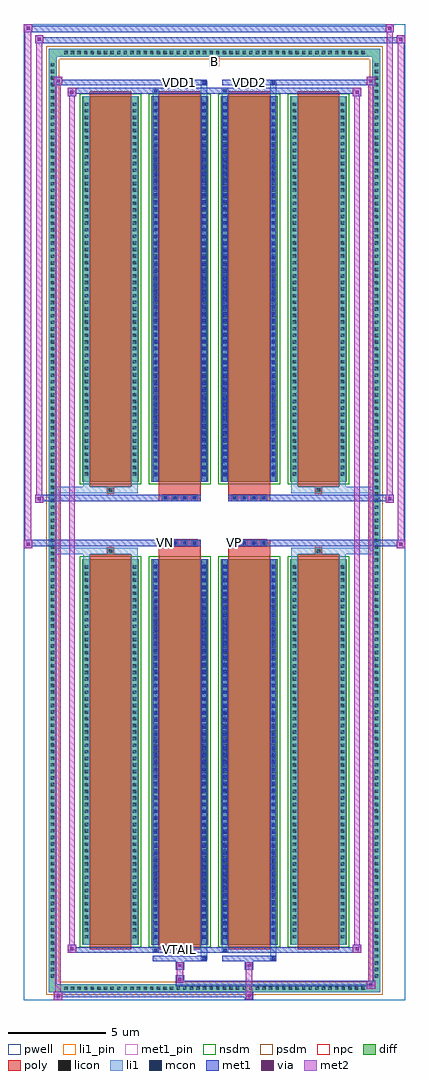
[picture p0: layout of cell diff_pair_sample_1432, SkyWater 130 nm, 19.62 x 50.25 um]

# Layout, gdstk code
import gdstk
lib = gdstk.Library(unit=1e-6, precision=5e-09)
def R(c, l, rs):  # rectangles x0, y0, x1, y1
    for r in rs: c.add(gdstk.rectangle(r[:2], r[2:], *l))
def A(c, l, x, y, w, h, nx, ny, dx, dy):  # array of equal rectangles
    R(c, l, [(x+i*dx, y+j*dy, x+i*dx+w, y+j*dy+h) for i in range(nx) for j in range(ny)])
def P(c, l, *ps):  # polygons
    for p in ps: c.add(gdstk.Polygon(p, *l))
pwell = (64, 44)
diff = (65, 20)
poly = (66, 20)
licon = (66, 44)
li1_pin = (67, 16)
li1 = (67, 20)
mcon = (67, 44)
met1_pin = (68, 16)
met1 = (68, 20)
via = (68, 44)
met2 = (69, 20)
nsdm = (93, 44)
psdm = (94, 20)
npc = (95, 20)

diff_pair_sample_1432 = lib.new_cell('diff_pair_sample_1432')
R(diff_pair_sample_1432, pwell, [(-9.81,-24.69,9.81,25.56), (-7.13,-22.88,-0.01,-0.8), (0.01,-22.88,7.13,-0.8), (-7.13,0.8,-0.01,22.88), (0.01,0.8,7.13,22.88)])
A(diff_pair_sample_1432, diff, -7.855, -24.29, 0.41, 0.41, 46, 2, 0.34, 48.17)
A(diff_pair_sample_1432, diff, -8.54, -23.665, 0.41, 0.41, 1, 139, 0, 0.34)
A(diff_pair_sample_1432, diff, 8.13, -23.665, 0.41, 0.41, 1, 139, 0, 0.34)
A(diff_pair_sample_1432, diff, -6.82, -21.835, 2.93, 19.85, 4, 2, 3.57, 23.82)
R(diff_pair_sample_1432, diff, [(-7.855,-24.29,7.855,-23.88), (-8.54,-23.665,-8.13,23.665), (8.13,-23.665,8.54,23.665), (-7.855,23.88,7.855,24.29)])
P(diff_pair_sample_1432, diff, [(8.54,24.29),(-8.54,24.29),(-8.54,-23.88),(-8.13,-23.88),(-8.13,23.88),(8.13,23.88),(8.13,-23.88),(-8.13,-23.88),(-8.54,-23.88),(-8.54,-24.29),(8.54,-24.29)])
A(diff_pair_sample_1432, poly, -6.43, -22.085, 2.15, 20.35, 4, 2, 3.57, 23.82)
A(diff_pair_sample_1432, poly, -2.7, -1.33, 0.33, 0.33, 4, 2, 0.5, 2.33)
A(diff_pair_sample_1432, poly, 0.87, -1.33, 0.33, 0.33, 4, 2, 0.5, 2.33)
R(diff_pair_sample_1432, poly, [(-5.52,-1.735,-5.19,-1.405), (-5.52,-1.735,-5.19,-1.405), (-2.86,-1.735,-0.71,-1.33), (0.71,-1.735,2.86,-1.33), (5.19,-1.735,5.52,-1.405), (5.19,-1.735,5.52,-1.405), (-2.86,-1.33,-0.71,-1), (0.71,-1.33,2.86,-1), (-2.86,1,-0.71,1.33), (0.71,1,2.86,1.33), (-2.86,1.33,-0.71,1.735), (0.71,1.33,2.86,1.735), (-5.52,1.405,-5.19,1.735), (-5.52,1.405,-5.19,1.735), (5.19,1.405,5.52,1.735), (5.19,1.405,5.52,1.735)])
A(diff_pair_sample_1432, licon, -7.735, -24.17, 0.17, 0.17, 46, 2, 0.34, 48.17)
A(diff_pair_sample_1432, licon, -8.42, -23.545, 0.17, 0.17, 1, 139, 0, 0.34)
A(diff_pair_sample_1432, licon, 8.25, -23.545, 0.17, 0.17, 1, 139, 0, 0.34)
A(diff_pair_sample_1432, licon, -6.68, -21.515, 0.17, 0.17, 1, 57, 0, 0.34)
A(diff_pair_sample_1432, licon, -4.2, -21.515, 0.17, 0.17, 1, 57, 0, 0.34)
A(diff_pair_sample_1432, licon, -3.11, -21.515, 0.17, 0.17, 1, 57, 0, 0.34)
A(diff_pair_sample_1432, licon, -0.63, -21.515, 0.17, 0.17, 1, 57, 0, 0.34)
A(diff_pair_sample_1432, licon, 0.46, -21.515, 0.17, 0.17, 1, 57, 0, 0.34)
A(diff_pair_sample_1432, licon, 2.94, -21.515, 0.17, 0.17, 1, 57, 0, 0.34)
A(diff_pair_sample_1432, licon, 4.03, -21.515, 0.17, 0.17, 1, 57, 0, 0.34)
A(diff_pair_sample_1432, licon, 6.51, -21.515, 0.17, 0.17, 1, 57, 0, 0.34)
A(diff_pair_sample_1432, licon, -2.62, -1.25, 0.17, 0.17, 4, 2, 0.5, 2.33)
A(diff_pair_sample_1432, licon, 0.95, -1.25, 0.17, 0.17, 4, 2, 0.5, 2.33)
A(diff_pair_sample_1432, licon, -6.68, 2.305, 0.17, 0.17, 1, 57, 0, 0.34)
A(diff_pair_sample_1432, licon, -4.2, 2.305, 0.17, 0.17, 1, 57, 0, 0.34)
A(diff_pair_sample_1432, licon, -3.11, 2.305, 0.17, 0.17, 1, 57, 0, 0.34)
A(diff_pair_sample_1432, licon, -0.63, 2.305, 0.17, 0.17, 1, 57, 0, 0.34)
A(diff_pair_sample_1432, licon, 0.46, 2.305, 0.17, 0.17, 1, 57, 0, 0.34)
A(diff_pair_sample_1432, licon, 2.94, 2.305, 0.17, 0.17, 1, 57, 0, 0.34)
A(diff_pair_sample_1432, licon, 4.03, 2.305, 0.17, 0.17, 1, 57, 0, 0.34)
A(diff_pair_sample_1432, licon, 6.51, 2.305, 0.17, 0.17, 1, 57, 0, 0.34)
R(diff_pair_sample_1432, licon, [(-5.44,-1.655,-5.27,-1.485), (5.27,-1.655,5.44,-1.485), (-5.44,1.485,-5.27,1.655), (5.27,1.485,5.44,1.655)])
R(diff_pair_sample_1432, li1_pin, [(-0.25,23.38,0.25,23.88)])
A(diff_pair_sample_1432, li1, -7.815, -24.25, 0.33, 0.33, 46, 2, 0.34, 48.17)
A(diff_pair_sample_1432, li1, -8.5, -23.625, 0.33, 0.33, 1, 139, 0, 0.34)
A(diff_pair_sample_1432, li1, 8.17, -23.625, 0.33, 0.33, 1, 139, 0, 0.34)
A(diff_pair_sample_1432, li1, -6.76, -21.595, 0.33, 0.33, 1, 57, 0, 0.34)
A(diff_pair_sample_1432, li1, -4.28, -21.595, 0.33, 0.33, 1, 57, 0, 0.34)
A(diff_pair_sample_1432, li1, -3.19, -21.595, 0.33, 0.33, 1, 57, 0, 0.34)
A(diff_pair_sample_1432, li1, -0.71, -21.595, 0.33, 0.33, 1, 57, 0, 0.34)
A(diff_pair_sample_1432, li1, 0.38, -21.595, 0.33, 0.33, 1, 57, 0, 0.34)
A(diff_pair_sample_1432, li1, 2.86, -21.595, 0.33, 0.33, 1, 57, 0, 0.34)
A(diff_pair_sample_1432, li1, 3.95, -21.595, 0.33, 0.33, 1, 57, 0, 0.34)
A(diff_pair_sample_1432, li1, 6.43, -21.595, 0.33, 0.33, 1, 57, 0, 0.34)
A(diff_pair_sample_1432, li1, -3.11, -21.535, 0.17, 0.17, 1, 54, 0, 0.36)
A(diff_pair_sample_1432, li1, -0.63, -21.535, 0.17, 0.17, 1, 54, 0, 0.36)
A(diff_pair_sample_1432, li1, 0.46, -21.535, 0.17, 0.17, 1, 54, 0, 0.36)
A(diff_pair_sample_1432, li1, 2.94, -21.535, 0.17, 0.17, 1, 54, 0, 0.36)
A(diff_pair_sample_1432, li1, -2.7, -1.33, 0.33, 0.33, 4, 2, 0.5, 2.33)
A(diff_pair_sample_1432, li1, 0.87, -1.33, 0.33, 0.33, 4, 2, 0.5, 2.33)
A(diff_pair_sample_1432, li1, -6.76, 2.225, 0.33, 0.33, 1, 57, 0, 0.34)
A(diff_pair_sample_1432, li1, -4.28, 2.225, 0.33, 0.33, 1, 57, 0, 0.34)
A(diff_pair_sample_1432, li1, -3.19, 2.225, 0.33, 0.33, 1, 57, 0, 0.34)
A(diff_pair_sample_1432, li1, -0.71, 2.225, 0.33, 0.33, 1, 57, 0, 0.34)
A(diff_pair_sample_1432, li1, 0.38, 2.225, 0.33, 0.33, 1, 57, 0, 0.34)
A(diff_pair_sample_1432, li1, 2.86, 2.225, 0.33, 0.33, 1, 57, 0, 0.34)
A(diff_pair_sample_1432, li1, 3.95, 2.225, 0.33, 0.33, 1, 57, 0, 0.34)
A(diff_pair_sample_1432, li1, 6.43, 2.225, 0.33, 0.33, 1, 57, 0, 0.34)
A(diff_pair_sample_1432, li1, -3.11, 2.285, 0.17, 0.17, 1, 54, 0, 0.36)
A(diff_pair_sample_1432, li1, -0.63, 2.285, 0.17, 0.17, 1, 54, 0, 0.36)
A(diff_pair_sample_1432, li1, 0.46, 2.285, 0.17, 0.17, 1, 54, 0, 0.36)
A(diff_pair_sample_1432, li1, 2.94, 2.285, 0.17, 0.17, 1, 54, 0, 0.36)
R(diff_pair_sample_1432, li1, [(-8.54,-24.29,-8.13,-23.88), (-8.54,-24.29,-8.13,-23.88), (-8.13,-24.29,8.13,-23.88), (8.13,-24.29,8.54,-23.88), (8.13,-24.29,8.54,-23.88), (-8.54,-23.88,-8.13,23.88), (8.13,-23.88,8.54,23.88), (-0.71,-22.64,-0.38,-21.835), (-0.63,-22.64,-0.46,-22.47), (2.86,-22.64,3.19,-21.835), (2.94,-22.64,3.11,-22.47), (-3.19,-22.21,-2.86,-21.835), (-3.11,-22.21,-2.94,-22.04), (0.38,-22.21,0.71,-21.835), (0.46,-22.21,0.63,-22.04), (-6.76,-21.835,-6.43,-1.985), (-4.28,-21.835,-3.95,-1.985), (-3.19,-21.835,-2.86,-1.985), (-0.71,-21.835,-0.38,-1.985), (0.38,-21.835,0.71,-1.985), (2.86,-21.835,3.19,-1.985), (3.95,-21.835,4.28,-1.985), (6.43,-21.835,6.76,-1.985), (-3.11,-21.535,-2.94,-2.285), (-0.63,-21.535,-0.46,-2.285), (0.46,-21.535,0.63,-2.285), (2.94,-21.535,3.11,-2.285), (-6.76,-1.985,-6.43,-1.405), (-4.28,-1.985,-3.95,-1.405), (3.95,-1.985,4.28,-1.405), (6.43,-1.985,6.76,-1.405), (-8.54,-1.735,-5.52,-1.405), (-6.76,-1.735,-5.52,-1.405), (-5.52,-1.735,-5.19,-1.405), (-5.19,-1.735,-3.95,-1.405), (3.95,-1.735,5.19,-1.405), (5.19,-1.735,5.52,-1.405), (5.19,-1.735,8.54,-1.405), (5.52,-1.735,6.76,-1.405), (-8.54,1.405,-5.52,1.735), (-6.76,1.405,-5.52,1.735), (-6.76,1.405,-6.43,1.985), (-5.52,1.405,-5.19,1.735), (-5.19,1.405,-3.95,1.735), (-4.28,1.405,-3.95,1.985), (3.95,1.405,5.19,1.735), (3.95,1.405,4.28,1.985), (5.19,1.405,5.52,1.735), (5.19,1.405,8.54,1.735), (5.52,1.405,6.76,1.735), (6.43,1.405,6.76,1.985), (-6.76,1.985,-6.43,21.835), (-4.28,1.985,-3.95,21.835), (-3.19,1.985,-2.86,21.835), (-0.71,1.985,-0.38,21.835), (0.38,1.985,0.71,21.835), (2.86,1.985,3.19,21.835), (3.95,1.985,4.28,21.835), (6.43,1.985,6.76,21.835), (-3.11,2.285,-2.94,21.535), (-0.63,2.285,-0.46,21.535), (0.46,2.285,0.63,21.535), (2.94,2.285,3.11,21.535), (-3.19,21.835,-2.86,22.21), (-0.71,21.835,-0.38,22.64), (0.38,21.835,0.71,22.21), (2.86,21.835,3.19,22.64), (-3.11,22.04,-2.94,22.21), (0.46,22.04,0.63,22.21), (-0.63,22.47,-0.46,22.64), (2.94,22.47,3.11,22.64), (-8.54,23.88,-8.13,24.29), (-8.54,23.88,-8.13,24.29), (-8.13,23.88,8.13,24.29), (8.13,23.88,8.54,24.29), (8.13,23.88,8.54,24.29)])
A(diff_pair_sample_1432, mcon, -3.11, -21.535, 0.17, 0.17, 1, 54, 0, 0.36)
A(diff_pair_sample_1432, mcon, -0.63, -21.535, 0.17, 0.17, 1, 54, 0, 0.36)
A(diff_pair_sample_1432, mcon, 0.46, -21.535, 0.17, 0.17, 1, 54, 0, 0.36)
A(diff_pair_sample_1432, mcon, 2.94, -21.535, 0.17, 0.17, 1, 54, 0, 0.36)
A(diff_pair_sample_1432, mcon, -2.62, -1.25, 0.17, 0.17, 4, 2, 0.5, 2.33)
A(diff_pair_sample_1432, mcon, 0.95, -1.25, 0.17, 0.17, 4, 2, 0.5, 2.33)
A(diff_pair_sample_1432, mcon, -3.11, 2.285, 0.17, 0.17, 1, 54, 0, 0.36)
A(diff_pair_sample_1432, mcon, -0.63, 2.285, 0.17, 0.17, 1, 54, 0, 0.36)
A(diff_pair_sample_1432, mcon, 0.46, 2.285, 0.17, 0.17, 1, 54, 0, 0.36)
A(diff_pair_sample_1432, mcon, 2.94, 2.285, 0.17, 0.17, 1, 54, 0, 0.36)
R(diff_pair_sample_1432, mcon, [(-0.63,-22.64,-0.46,-22.47), (2.94,-22.64,3.11,-22.47), (-3.11,-22.21,-2.94,-22.04), (0.46,-22.21,0.63,-22.04), (-3.11,22.04,-2.94,22.21), (0.46,22.04,0.63,22.21), (-0.63,22.47,-0.46,22.64), (2.94,22.47,3.11,22.64)])
R(diff_pair_sample_1432, met1_pin, [(-1.92,-22.25,-1.65,-21.98), (-2.67,-1.29,-2.4,-1.02), (0.9,-1.29,1.17,-1.02), (-1.92,22.43,-1.65,22.7), (1.65,22.43,1.92,22.7)])
A(diff_pair_sample_1432, met1, -3.17, -21.595, 0.29, 0.29, 1, 54, 0, 0.36)
A(diff_pair_sample_1432, met1, -0.69, -21.595, 0.29, 0.29, 1, 54, 0, 0.36)
A(diff_pair_sample_1432, met1, 0.4, -21.595, 0.29, 0.29, 1, 54, 0, 0.36)
A(diff_pair_sample_1432, met1, 2.88, -21.595, 0.29, 0.29, 1, 54, 0, 0.36)
A(diff_pair_sample_1432, met1, -2.68, -1.31, 0.29, 0.29, 4, 2, 0.5, 2.33)
A(diff_pair_sample_1432, met1, 0.89, -1.31, 0.29, 0.29, 4, 2, 0.5, 2.33)
A(diff_pair_sample_1432, met1, -3.17, 2.225, 0.29, 0.29, 1, 54, 0, 0.36)
A(diff_pair_sample_1432, met1, -0.69, 2.225, 0.29, 0.29, 1, 54, 0, 0.36)
A(diff_pair_sample_1432, met1, 0.4, 2.225, 0.29, 0.29, 1, 54, 0, 0.36)
A(diff_pair_sample_1432, met1, 2.88, 2.225, 0.29, 0.29, 1, 54, 0, 0.36)
R(diff_pair_sample_1432, met1, [(-8.27,-24.69,-7.84,-24.26), (1.57,-24.69,2,-24.26), (-8.27,-24.55,2,-24.26), (7.84,-24.12,8.27,-23.69), (-2,-23.98,8.27,-23.69), (-2,-23.84,-1.57,-23.41), (-2,-23.13,-1.57,-22.7), (1.57,-23.13,2,-22.7), (-3.17,-22.7,-0.4,-22.41), (-0.69,-22.7,-0.4,-22.41), (0.4,-22.7,3.17,-22.41), (2.88,-22.7,3.17,-22.41), (-7.56,-22.27,-7.13,-21.84), (-7.56,-22.27,-3.17,-21.98), (-3.17,-22.27,-2.88,-21.98), (-3.17,-22.27,-0.4,-21.98), (-0.4,-22.27,0.4,-21.98), (0.4,-22.27,0.69,-21.98), (0.4,-22.27,3.17,-21.98), (3.17,-22.27,7.56,-21.98), (7.13,-22.27,7.56,-21.84), (-3.17,-21.835,-2.88,-1.985), (-0.69,-21.835,-0.4,-1.985), (0.4,-21.835,0.69,-1.985), (2.88,-21.835,3.17,-1.985), (-9.81,-1.43,-9.38,-1), (9.38,-1.43,9.81,-1), (-9.81,-1.33,-0.71,-1), (-2.86,-1.33,-0.71,-1), (0.71,-1.33,2.86,-1), (0.71,-1.33,9.81,-1), (-9.24,0.9,-8.81,1.33), (8.81,0.9,9.24,1.33), (-9.24,1,-2.86,1.33), (-2.86,1,-0.71,1.33), (0.71,1,2.86,1.33), (2.86,1,9.24,1.33), (-3.17,1.985,-2.88,21.835), (-0.69,1.985,-0.4,21.835), (0.4,1.985,0.69,21.835), (2.88,1.985,3.17,21.835), (-7.56,21.84,-7.13,22.27), (7.13,21.84,7.56,22.27), (-7.56,21.98,-3.17,22.27), (-3.17,21.98,-2.88,22.27), (-3.17,21.98,-0.4,22.27), (-0.4,21.98,0.4,22.27), (0.4,21.98,0.69,22.27), (0.4,21.98,3.17,22.27), (3.17,21.98,7.56,22.27), (-8.27,22.41,-7.84,22.84), (-8.27,22.41,-3.17,22.7), (-3.17,22.41,-0.4,22.7), (-0.69,22.41,-0.4,22.7), (0.4,22.41,3.17,22.7), (2.88,22.41,3.17,22.7), (3.17,22.41,8.27,22.7), (7.84,22.41,8.27,22.84), (-9.24,24.56,-8.81,24.99), (-9.24,24.56,-7.13,24.89), (-7.13,24.56,7.13,24.89), (7.13,24.56,9.81,24.89), (9.38,24.56,9.81,24.99), (-9.81,25.13,-9.38,25.56), (-9.81,25.13,-7.13,25.46), (-7.13,25.13,7.13,25.46), (7.13,25.13,9.24,25.46), (8.81,25.13,9.24,25.56)])
R(diff_pair_sample_1432, via, [(-8.13,-24.55,-7.98,-24.4), (1.71,-24.55,1.86,-24.4), (7.98,-23.98,8.13,-23.83), (-1.86,-23.7,-1.71,-23.55), (-1.86,-22.99,-1.71,-22.84), (1.71,-22.99,1.86,-22.84), (-7.42,-22.13,-7.27,-21.98), (7.27,-22.13,7.42,-21.98), (-9.67,-1.29,-9.52,-1.14), (9.52,-1.29,9.67,-1.14), (-9.1,1.04,-8.95,1.19), (8.95,1.04,9.1,1.19), (-7.42,21.98,-7.27,22.13), (7.27,21.98,7.42,22.13), (-8.13,22.55,-7.98,22.7), (7.98,22.55,8.13,22.7), (-9.1,24.7,-8.95,24.85), (9.52,24.7,9.67,24.85), (-9.67,25.27,-9.52,25.42), (8.95,25.27,9.1,25.42)])
R(diff_pair_sample_1432, met2, [(-8.27,-24.69,-7.84,-24.26), (-8.2,-24.69,-7.91,22.84), (-7.91,-24.69,-7.84,-24.26), (-8.22,-24.64,-7.89,-24.31), (1.62,-24.64,1.95,-24.31), (1.62,-24.31,1.95,-23.08), (7.84,-24.12,8.27,-23.69), (7.91,-24.12,8.2,22.84), (8.2,-24.12,8.27,-23.69), (7.89,-24.07,8.22,-23.74), (-1.95,-23.79,-1.62,-23.46), (-1.95,-23.46,-1.62,-23.08), (-1.95,-23.08,-1.62,-22.75), (1.62,-23.08,1.95,-22.75), (-7.56,-22.27,-7.13,-21.84), (-7.49,-22.27,-7.2,22.27), (-7.2,-22.27,-7.13,-21.84), (7.13,-22.27,7.56,-21.84), (7.2,-22.27,7.49,22.27), (7.49,-22.27,7.56,-21.84), (-7.51,-22.22,-7.18,-21.89), (7.18,-22.22,7.51,-21.89), (-9.81,-1.43,-9.38,-1), (-9.76,-1.43,-9.43,25.56), (-9.43,-1.43,-9.38,-1), (9.38,-1.43,9.81,-1), (9.43,-1.43,9.76,24.99), (9.76,-1.43,9.81,-1), (-9.76,-1.38,-9.43,-1.05), (9.43,-1.38,9.76,-1.05), (-9.24,0.9,-8.81,1.33), (-9.19,0.9,-8.86,24.99), (-8.86,0.9,-8.81,1.33), (8.81,0.9,9.24,1.33), (8.86,0.9,9.19,25.56), (9.19,0.9,9.24,1.33), (-9.19,0.95,-8.86,1.28), (8.86,0.95,9.19,1.28), (-7.56,21.84,-7.13,22.27), (-7.2,21.84,-7.13,22.27), (7.13,21.84,7.56,22.27), (7.49,21.84,7.56,22.27), (-7.51,21.89,-7.18,22.22), (7.18,21.89,7.51,22.22), (-8.27,22.41,-7.84,22.84), (-7.91,22.41,-7.84,22.84), (7.84,22.41,8.27,22.84), (8.2,22.41,8.27,22.84), (-8.22,22.46,-7.89,22.79), (7.89,22.46,8.22,22.79), (-9.24,24.56,-8.81,24.99), (-8.86,24.56,-8.81,24.99), (9.38,24.56,9.81,24.99), (9.76,24.56,9.81,24.99), (-9.19,24.61,-8.86,24.94), (9.43,24.61,9.76,24.94), (-9.81,25.13,-9.38,25.56), (-9.43,25.13,-9.38,25.56), (8.81,25.13,9.24,25.56), (9.19,25.13,9.24,25.56), (-9.76,25.18,-9.43,25.51), (8.86,25.18,9.19,25.51)])
A(diff_pair_sample_1432, nsdm, -6.95, -21.965, 3.19, 20.11, 4, 2, 3.57, 23.82)
P(diff_pair_sample_1432, psdm, [(8.67,24.42),(-8.67,24.42),(-8.67,-23.75),(-8,-23.75),(-8,23.75),(8,23.75),(8,-23.75),(-8,-23.75),(-8.67,-23.75),(-8.67,-24.42),(8.67,-24.42)])
A(diff_pair_sample_1432, npc, -2.72, -1.35, 0.37, 0.37, 4, 2, 0.5, 2.33)
A(diff_pair_sample_1432, npc, 0.85, -1.35, 0.37, 0.37, 4, 2, 0.5, 2.33)
R(diff_pair_sample_1432, npc, [(-5.54,-1.755,-5.17,-1.385), (5.17,-1.755,5.54,-1.385), (-2.72,-1.35,-1.85,-0.98), (-2.72,-1.35,-1.85,-0.98), (-2.22,-1.35,-1.35,-0.98), (-2.22,-1.35,-1.35,-0.98), (-1.72,-1.35,-0.85,-0.98), (-1.72,-1.35,-0.85,-0.98), (0.85,-1.35,1.72,-0.98), (0.85,-1.35,1.72,-0.98), (1.35,-1.35,2.22,-0.98), (1.35,-1.35,2.22,-0.98), (1.85,-1.35,2.72,-0.98), (1.85,-1.35,2.72,-0.98), (-2.72,0.98,-1.85,1.35), (-2.72,0.98,-1.85,1.35), (-2.22,0.98,-1.35,1.35), (-2.22,0.98,-1.35,1.35), (-1.72,0.98,-0.85,1.35), (-1.72,0.98,-0.85,1.35), (0.85,0.98,1.72,1.35), (0.85,0.98,1.72,1.35), (1.35,0.98,2.22,1.35), (1.35,0.98,2.22,1.35), (1.85,0.98,2.72,1.35), (1.85,0.98,2.72,1.35), (-5.54,1.385,-5.17,1.755), (5.17,1.385,5.54,1.755)])
diff_pair_sample_1432.add(gdstk.Label('VTAIL', (-1.785,-22.115), layer=68, texttype=5))
diff_pair_sample_1432.add(gdstk.Label('VN', (-2.535,-1.155), layer=68, texttype=5))
diff_pair_sample_1432.add(gdstk.Label('VP', (1.035,-1.155), layer=68, texttype=5))
diff_pair_sample_1432.add(gdstk.Label('B', (0,23.63), layer=67, texttype=5))
diff_pair_sample_1432.add(gdstk.Label('VDD2', (1.785,22.565), layer=68, texttype=5))
diff_pair_sample_1432.add(gdstk.Label('VDD1', (-1.785,22.565), layer=68, texttype=5))

lib.write_gds('diff_pair_sample_1432.gds')
